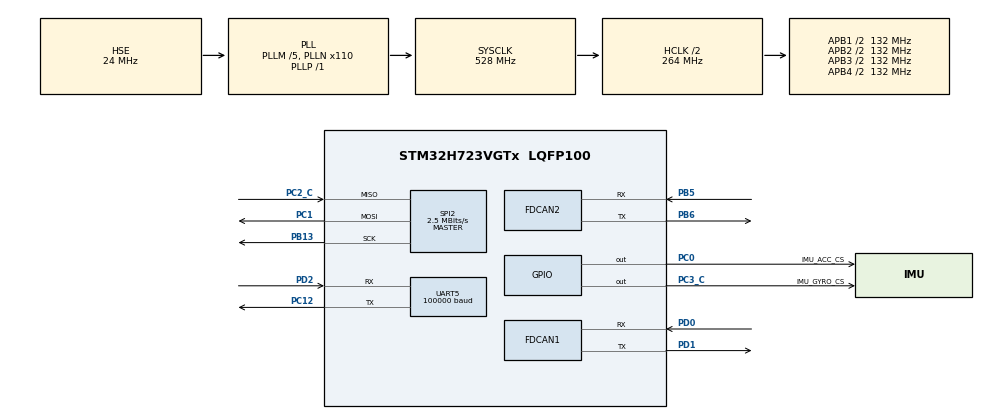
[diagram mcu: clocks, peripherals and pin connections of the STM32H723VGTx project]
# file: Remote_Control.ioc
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Dma.Request0=UART5_RX
Dma.UART5_RX.0.Direction=DMA_PERIPH_TO_MEMORY
Dma.UART5_RX.0.EventEnable=DISABLE
Dma.UART5_RX.0.FIFOMode=DMA_FIFOMODE_DISABLE
Dma.UART5_RX.0.Instance=DMA1_Stream0
Dma.UART5_RX.0.MemDataAlignment=DMA_MDATAALIGN_BYTE
Dma.UART5_RX.0.MemInc=DMA_MINC_ENABLE
Dma.UART5_RX.0.Mode=DMA_NORMAL
Dma.UART5_RX.0.PeriphDataAlignment=DMA_PDATAALIGN_BYTE
Dma.UART5_RX.0.PeriphInc=DMA_PINC_DISABLE
Dma.UART5_RX.0.Polarity=HAL_DMAMUX_REQ_GEN_RISING
Dma.UART5_RX.0.Priority=DMA_PRIORITY_VERY_HIGH
Dma.UART5_RX.0.RequestNumber=1
Dma.UART5_RX.0.SignalID=NONE
Dma.UART5_RX.0.SyncEnable=DISABLE
Dma.UART5_RX.0.SyncPolarity=HAL_DMAMUX_SYNC_NO_EVENT
Dma.UART5_RX.0.SyncRequestNumber=1
Dma.UART5_RX.0.SyncSignalID=NONE
FDCAN1.AutoRetransmission=ENABLE
FDCAN1.CalculateBaudRateNominal=1000000
FDCAN1.CalculateTimeBitNominal=1000
FDCAN1.CalculateTimeQuantumNominal=50.0
FDCAN1.MessageRAMOffset=0x400
FDCAN1.NominalPrescaler=4
FDCAN1.NominalTimeSeg1=15
FDCAN1.NominalTimeSeg2=4
FDCAN1.RxFifo0ElmtsNbr=16
FDCAN1.StdFiltersNbr=2
FDCAN1.TxFifoQueueElmtsNbr=3
FDCAN2.AutoRetransmission=ENABLE
FDCAN2.CalculateBaudRateNominal=1000000
FDCAN2.CalculateTimeBitNominal=1000
FDCAN2.CalculateTimeQuantumNominal=50.0
FDCAN2.NominalPrescaler=4
FDCAN2.NominalTimeSeg1=15
FDCAN2.NominalTimeSeg2=4
FDCAN2.RxFifo0ElmtsNbr=16
FDCAN2.RxFifo1ElmtsNbr=3
FDCAN2.StdFiltersNbr=2
FDCAN2.TxFifoQueueElmtsNbr=3
Mcu.Family=STM32H7
Mcu.Name=STM32H723VGTx
Mcu.Package=LQFP100
NVIC.DMA1_Stream0_IRQn=true\:0\:0\:false\:false\:true\:false\:true\:true
NVIC.FDCAN1_IT0_IRQn=true\:0\:0\:false\:false\:true\:true\:true\:true
NVIC.FDCAN2_IT0_IRQn=true\:2\:0\:true\:false\:true\:true\:true\:true
NVIC.PriorityGroup=NVIC_PRIORITYGROUP_4
NVIC.UART5_IRQn=true\:0\:0\:false\:false\:true\:true\:true\:true
PA13(JTMS/SWDIO).Mode=Serial_Wire
PA13(JTMS/SWDIO).Signal=DEBUG_JTMS-SWDIO
PA14(JTCK/SWCLK).Mode=Serial_Wire
PA14(JTCK/SWCLK).Signal=DEBUG_JTCK-SWCLK
PB13.Mode=Full_Duplex_Master
PB13.Signal=SPI2_SCK
PB5.Mode=FDCAN_Activate
PB5.Signal=FDCAN2_RX
PB6.Mode=FDCAN_Activate
PB6.Signal=FDCAN2_TX
PC0.GPIO_Label=IMU_ACC_CS
PC0.GPIO_Speed=GPIO_SPEED_FREQ_VERY_HIGH
PC0.PinState=GPIO_PIN_SET
PC0.Signal=GPIO_Output
PC1.Mode=Full_Duplex_Master
PC1.Signal=SPI2_MOSI
PC12.Mode=Asynchronous
PC12.Signal=UART5_TX
PC2_C.Mode=Full_Duplex_Master
PC2_C.Signal=SPI2_MISO
PC3_C.GPIO_Label=IMU_GYRO_CS
PC3_C.GPIO_Speed=GPIO_SPEED_FREQ_VERY_HIGH
PC3_C.PinState=GPIO_PIN_SET
PC3_C.Signal=GPIO_Output
PD0.Mode=FDCAN_Activate
PD0.Signal=FDCAN1_RX
PD1.Mode=FDCAN_Activate
PD1.Signal=FDCAN1_TX
PD2.Mode=Asynchronous
PD2.Signal=UART5_RX
PH0-OSC_IN.Mode=HSE-External-Oscillator
PH0-OSC_IN.Signal=RCC_OSC_IN
PH1-OSC_OUT.Mode=HSE-External-Oscillator
PH1-OSC_OUT.Signal=RCC_OSC_OUT
ProjectManager.HeapSize=0x200
ProjectManager.StackSize=0x400
ProjectManager.TargetToolchain=Makefile
RCC.ADCFreq_Value=160000000
RCC.APB1Freq_Value=132000000
RCC.APB2Freq_Value=132000000
RCC.APB3Freq_Value=132000000
RCC.APB4Freq_Value=132000000
RCC.CortexFreq_Value=528000000
RCC.D1PPRE=RCC_APB3_DIV2
RCC.D2PPRE1=RCC_APB1_DIV2
RCC.D2PPRE2=RCC_APB2_DIV2
RCC.D3PPRE=RCC_APB4_DIV2
RCC.DIVM1=5
RCC.DIVM2=3
RCC.DIVN1=110
RCC.DIVN2=40
RCC.DIVP1=1
RCC.DIVQ2=4
RCC.FDCANCLockSelection=RCC_FDCANCLKSOURCE_PLL2
RCC.HCLKFreq_Value=264000000
RCC.HPRE=RCC_HCLK_DIV2
RCC.HSE_VALUE=24000000
RCC.PLL2FRACN=0
RCC.PLLFRACN=0
RCC.PLLSourceVirtual=RCC_PLLSOURCE_HSE
RCC.SPI123CLockSelection=RCC_SPI123CLKSOURCE_PLL2
RCC.SYSCLKFreq_VALUE=528000000
RCC.SYSCLKSource=RCC_SYSCLKSOURCE_PLLCLK
RCC.USBFreq_Value=264000000
SPI2.BaudRatePrescaler=SPI_BAUDRATEPRESCALER_64
SPI2.CLKPhase=SPI_PHASE_2EDGE
SPI2.CLKPolarity=SPI_POLARITY_HIGH
SPI2.CRCCalculation=SPI_CRCCALCULATION_DISABLE
SPI2.CalculateBaudRate=2.5 MBits/s
SPI2.DataSize=SPI_DATASIZE_8BIT
SPI2.Direction=SPI_DIRECTION_2LINES
SPI2.Mode=SPI_MODE_MASTER
SPI2.NSSPMode=SPI_NSS_PULSE_ENABLE
SPI2.VirtualType=VM_MASTER
UART5.BaudRate=100000
UART5.Parity=PARITY_EVEN
UART5.StopBits=UART_STOPBITS_2
UART5.WordLength=WORDLENGTH_9B
VP_MEMORYMAP_VS_MEMORYMAP.Mode=CurAppReg
board=custom

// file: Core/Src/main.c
/* USER CODE BEGIN Header */
/**
  ******************************************************************************
  * @file           : main.c
  * @brief          : Main program body
  ******************************************************************************
  * @attention
  *
  * Copyright (c) 2026 STMicroelectronics.
  * All rights reserved.
  *
  * This software is licensed under terms that can be found in the LICENSE file
  * in the root directory of this software component.
  * If no LICENSE file comes with this software, it is provided AS-IS.
  *
  ******************************************************************************
  */
/* USER CODE END Header */
#include "main.h"
#include "dma.h"
#include "fdcan.h"
#include "spi.h"
#include "usart.h"
#include "gpio.h"

/* USER CODE BEGIN Includes */
#include "DJ_Motor.h"
#include "rc_dbus.h"
#include "mecanum.h"
#include "ins.h"
#include "bsp_can.h"
/* USER CODE END Includes */

void SystemClock_Config(void);
void PeriphCommonClock_Config(void);

int main(void)
{

  /* MCU Configuration--------------------------------------------------------*/

  /* Reset of all peripherals, Initializes the Flash interface and the Systick. */
  HAL_Init();

  /* Configure the system clock */
  SystemClock_Config();

  /* Configure the peripherals common clocks */
  PeriphCommonClock_Config();

  /* Initialize all configured peripherals */
  MX_GPIO_Init();
  MX_DMA_Init();
  MX_FDCAN2_Init();
  MX_FDCAN1_Init();
  MX_SPI2_Init();
  MX_UART5_Init();
  /* USER CODE BEGIN 2 */
  /* H7 的 PC2_C 焊盘与 PC2 之间串了一个模拟开关，SPI2_MISO 走的是 PC2_C；
   * 不闭合则 MISO 与 BMI088 断开 → 读回全 0xFF。CubeMX 只生成了 PC3
   * （陀螺片选）那一条，PC2 只能在这里补，且必须在 INS_Init() 之前。 */
  HAL_SYSCFG_AnalogSwitchConfig(SYSCFG_SWITCH_PC2, SYSCFG_SWITCH_PC2_CLOSE);
  DJ_Motor_Init();       /* 先注册 CAN 接收解析，再开总线（bsp 只负责收帧） */
  FDCAN2_Start();        /* CAN2：底盘左/右 + 云台 yaw */
  FDCAN1_Start();        /* CAN1：摩擦轮 + 云台 pitch */
  RC_Init();             /* 启动 DBUS(UART5) 接收 */
  INS_Init();            /* BMI088：验证 SPI2 通路 */
  /* USER CODE END 2 */

  /* Infinite loop */
  /* USER CODE BEGIN WHILE */
uint32_t rc_last_tick = 0;
while (1) {
  /*约1ms调用一次*/
    uint32_t now = HAL_GetTick();
    if ((int32_t)(now - rc_last_tick) >= 1) {   /* ~1ms, 匹配 mecanum 1kHz 斜坡 */
        rc_last_tick = now;
        INS_Task();            /* BMI088 采样，1 kHz */
        RC_Control_Task();
    }
   //DJ3508_Send_I_Can2(1000,1000,1000,1000);
    /* USER CODE END WHILE */

}
}

void SystemClock_Config(void)
{
  RCC_OscInitTypeDef RCC_OscInitStruct = {0};
  RCC_ClkInitTypeDef RCC_ClkInitStruct = {0};

  /** Supply configuration update enable
  */
  HAL_PWREx_ConfigSupply(PWR_LDO_SUPPLY);

  /** Configure the main internal regulator output voltage
  */
  __HAL_PWR_VOLTAGESCALING_CONFIG(PWR_REGULATOR_VOLTAGE_SCALE0);

  while(!__HAL_PWR_GET_FLAG(PWR_FLAG_VOSRDY)) {}

  /** Initializes the RCC Oscillators according to the specified parameters
  * in the RCC_OscInitTypeDef structure.
  */
  RCC_OscInitStruct.OscillatorType = RCC_OSCILLATORTYPE_HSE;
  RCC_OscInitStruct.HSEState = RCC_HSE_ON;
  RCC_OscInitStruct.PLL.PLLState = RCC_PLL_ON;
  RCC_OscInitStruct.PLL.PLLSource = RCC_PLLSOURCE_HSE;
  RCC_OscInitStruct.PLL.PLLM = 5;
  RCC_OscInitStruct.PLL.PLLN = 110;
  RCC_OscInitStruct.PLL.PLLP = 1;
  RCC_OscInitStruct.PLL.PLLQ = 2;
  RCC_OscInitStruct.PLL.PLLR = 2;
  RCC_OscInitStruct.PLL.PLLRGE = RCC_PLL1VCIRANGE_2;
  RCC_OscInitStruct.PLL.PLLVCOSEL = RCC_PLL1VCOWIDE;
  RCC_OscInitStruct.PLL.PLLFRACN = 0;
  if (HAL_RCC_OscConfig(&RCC_OscInitStruct) != HAL_OK)
  {
    Error_Handler();
  }

  /** Initializes the CPU, AHB and APB buses clocks
  */
  RCC_ClkInitStruct.ClockType = RCC_CLOCKTYPE_HCLK|RCC_CLOCKTYPE_SYSCLK
                              |RCC_CLOCKTYPE_PCLK1|RCC_CLOCKTYPE_PCLK2
                              |RCC_CLOCKTYPE_D3PCLK1|RCC_CLOCKTYPE_D1PCLK1;
  RCC_ClkInitStruct.SYSCLKSource = RCC_SYSCLKSOURCE_PLLCLK;
  RCC_ClkInitStruct.SYSCLKDivider = RCC_SYSCLK_DIV1;
  RCC_ClkInitStruct.AHBCLKDivider = RCC_HCLK_DIV2;
  RCC_ClkInitStruct.APB3CLKDivider = RCC_APB3_DIV2;
  RCC_ClkInitStruct.APB1CLKDivider = RCC_APB1_DIV2;
  RCC_ClkInitStruct.APB2CLKDivider = RCC_APB2_DIV2;
  RCC_ClkInitStruct.APB4CLKDivider = RCC_APB4_DIV2;

  if (HAL_RCC_ClockConfig(&RCC_ClkInitStruct, FLASH_LATENCY_3) != HAL_OK)
  {
    Error_Handler();
  }
}

void PeriphCommonClock_Config(void)
{
  RCC_PeriphCLKInitTypeDef PeriphClkInitStruct = {0};

  /** Initializes the peripherals clock
  */
  PeriphClkInitStruct.PeriphClockSelection = RCC_PERIPHCLK_SPI2|RCC_PERIPHCLK_FDCAN;
  PeriphClkInitStruct.PLL2.PLL2M = 3;
  PeriphClkInitStruct.PLL2.PLL2N = 40;
  PeriphClkInitStruct.PLL2.PLL2P = 2;
  PeriphClkInitStruct.PLL2.PLL2Q = 4;
  PeriphClkInitStruct.PLL2.PLL2R = 2;
  PeriphClkInitStruct.PLL2.PLL2RGE = RCC_PLL2VCIRANGE_3;
  PeriphClkInitStruct.PLL2.PLL2VCOSEL = RCC_PLL2VCOWIDE;
  PeriphClkInitStruct.PLL2.PLL2FRACN = 0;
  PeriphClkInitStruct.Spi123ClockSelection = RCC_SPI123CLKSOURCE_PLL2;
  PeriphClkInitStruct.FdcanClockSelection = RCC_FDCANCLKSOURCE_PLL2;
  if (HAL_RCCEx_PeriphCLKConfig(&PeriphClkInitStruct) != HAL_OK)
  {
    Error_Handler();
  }
}

void Error_Handler(void)
{
  __disable_irq();
  while (1)
  {
  }
}
